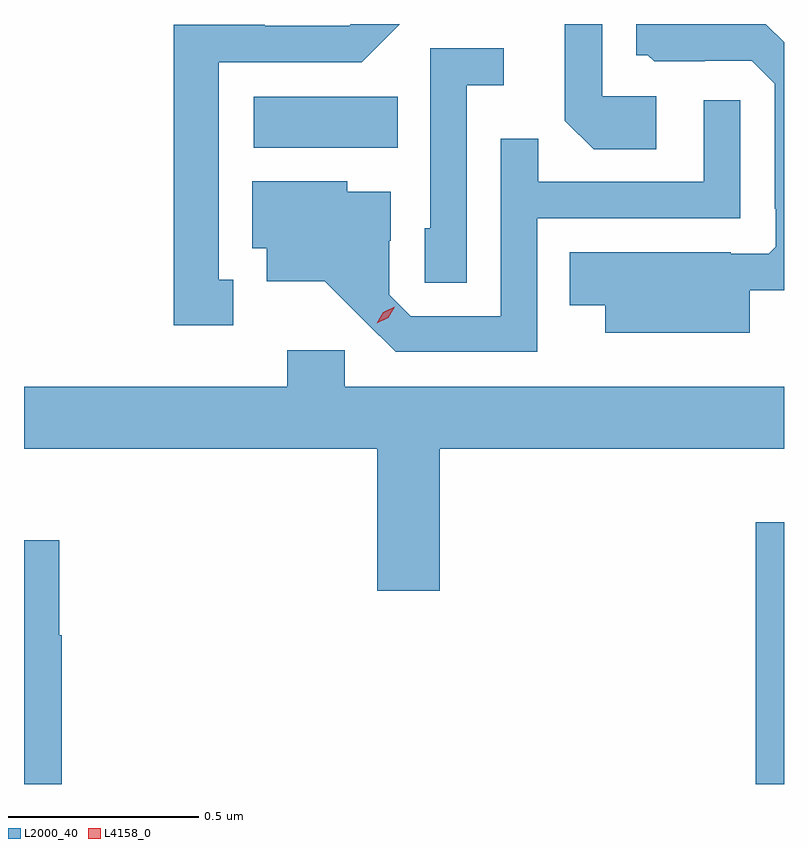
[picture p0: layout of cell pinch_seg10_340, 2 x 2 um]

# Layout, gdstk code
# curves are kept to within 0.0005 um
import gdstk
lib = gdstk.Library(unit=1e-6, precision=1e-09)
def R(c, l, rs):  # rectangles x0, y0, x1, y1
    for r in rs: c.add(gdstk.rectangle(r[:2], r[2:], *l))
def P(c, l, *ps):  # polygons
    for p in ps: c.add(gdstk.Polygon(p, *l))
L2000_40 = (2000, 40)
L4158_0 = (4158, 0)

pinch_seg10_340 = lib.new_cell('pinch_seg10_340')
R(pinch_seg10_340, L2000_40, [(417.751,1272.794,417.826,1273.483), (416.43,1274.468,416.81,1274.602)])
P(pinch_seg10_340, L2000_40, [(416.377,1274.121),(416.338,1274.121),(416.338,1274.694),(416.715,1274.694),(416.815,1274.794),(416.686,1274.794),(416.682,1274.79),(416.46,1274.79),(416.46,1274.792),(416.22,1274.792),(416.22,1274.001),(416.377,1274.001)],
  [(417.49,1274.604),(417.348,1274.604),(417.348,1274.794),(417.249,1274.794),(417.249,1274.54),(417.325,1274.464),(417.49,1274.464)],
  [(417.736,1274.093),(417.826,1274.093),(417.826,1274.746),(417.778,1274.794),(417.437,1274.794),(417.437,1274.712),(417.468,1274.712),(417.484,1274.696),(417.618,1274.696),(417.618,1274.697),(417.741,1274.697),(417.801,1274.637),(417.801,1274.308),(417.804,1274.308),(417.804,1274.208),(417.786,1274.19),(417.686,1274.19),(417.686,1274.194),(417.262,1274.194),(417.262,1274.054),(417.356,1274.054),(417.356,1273.982),(417.736,1273.982)],
  [(416.991,1274.633),(417.088,1274.633),(417.088,1274.73),(416.895,1274.73),(416.895,1274.256),(416.88,1274.256),(416.88,1274.113),(416.991,1274.113)],
  [(417.177,1274.283),(417.711,1274.283),(417.711,1274.593),(417.615,1274.593),(417.615,1274.379),(417.179,1274.379),(417.179,1274.492),(417.081,1274.492),(417.081,1274.025),(416.844,1274.025),(416.787,1274.082),(416.787,1274.224),(416.791,1274.224),(416.791,1274.353),(416.676,1274.353),(416.676,1274.38),(416.426,1274.38),(416.426,1274.204),(416.465,1274.204),(416.465,1274.117),(416.617,1274.117),(416.804,1273.932),(417.177,1273.932)],
  [(416.92,1273.676),(417.826,1273.676),(417.826,1273.84),(416.67,1273.84),(416.67,1273.936),(416.519,1273.936),(416.519,1273.84),(415.826,1273.84),(415.826,1273.676),(416.756,1273.676),(416.756,1273.302),(416.92,1273.302)],
  [(415.925,1273.186),(415.919,1273.186),(415.919,1273.435),(415.826,1273.435),(415.826,1272.794),(415.925,1272.794)])
P(pinch_seg10_340, L4158_0, [(416.754,1274.006),(416.754,1274.007),(416.771,1274.036),(416.802,1274.05),(416.802,1274.05),(416.802,1274.05),(416.784,1274.021),(416.754,1274.006)])

lib.write_gds('pinch_seg10_340.gds')
